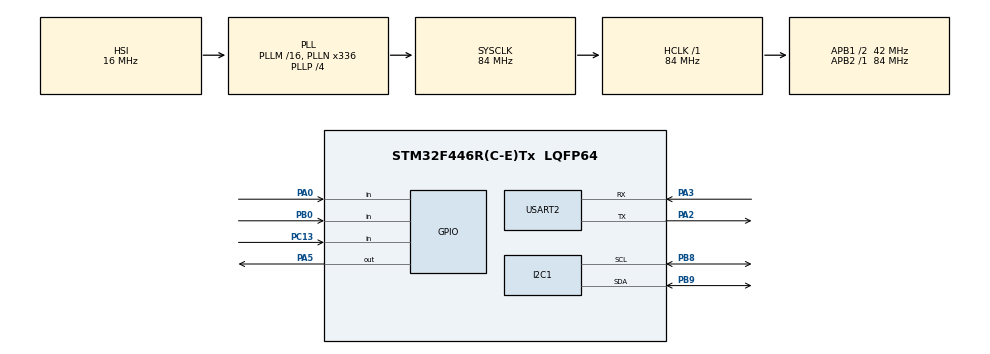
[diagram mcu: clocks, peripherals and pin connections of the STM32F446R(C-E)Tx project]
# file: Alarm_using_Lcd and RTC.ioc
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Mcu.Family=STM32F4
Mcu.Name=STM32F446R(C-E)Tx
Mcu.Package=LQFP64
NVIC.PriorityGroup=NVIC_PRIORITYGROUP_0
PA0-WKUP.GPIO_PuPd=GPIO_PULLUP
PA0-WKUP.Signal=GPIO_Input
PA2.Mode=Asynchronous
PA2.Signal=USART2_TX
PA3.Mode=Asynchronous
PA3.Signal=USART2_RX
PA5.Signal=GPIO_Output
PB0.GPIO_PuPd=GPIO_NOPULL
PB0.Signal=GPIO_Input
PB8.Mode=I2C
PB8.Signal=I2C1_SCL
PB9.Mode=I2C
PB9.Signal=I2C1_SDA
PC13.Signal=GPIO_Input
ProjectManager.HeapSize=0x200
ProjectManager.StackSize=0x400
ProjectManager.TargetToolchain=STM32CubeIDE
RCC.48MHZClocksFreq_Value=84000000
RCC.AHBFreq_Value=84000000
RCC.APB1CLKDivider=RCC_HCLK_DIV2
RCC.APB1Freq_Value=42000000
RCC.APB1TimFreq_Value=84000000
RCC.APB2Freq_Value=84000000
RCC.APB2TimFreq_Value=84000000
RCC.CortexFreq_Value=84000000
RCC.FLatency-AdvancedSettings=FLASH_LATENCY_2
RCC.HCLKFreq_Value=84000000
RCC.HSE_VALUE=8000000
RCC.HSI_VALUE=16000000
RCC.PLLN=336
RCC.PLLP=RCC_PLLP_DIV4
RCC.SYSCLKFreq_VALUE=84000000
RCC.SYSCLKSource=RCC_SYSCLKSOURCE_PLLCLK
RCC.USBFreq_Value=168000000
RCC.VCOOutputFreq_Value=336000000
RTC.Date=4
RTC.Format=RTC_FORMAT_BIN
RTC.Hours=1
RTC.Minutes=2
RTC.Month=RTC_MONTH_JUNE
RTC.WeekDay=RTC_WEEKDAY_THURSDAY
RTC.Year=26
USART2.VirtualMode=VM_ASYNC
VP_RTC_VS_RTC_Activate.Mode=RTC_Enabled
VP_RTC_VS_RTC_Calendar.Mode=RTC_Calendar
board=NUCLEO-F446RE

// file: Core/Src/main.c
/* USER CODE BEGIN Header */
/**
  ******************************************************************************
  * @file           : main.c
  * @brief          : Main program body
  ******************************************************************************
  * @attention
  *
  * Copyright (c) 2026 STMicroelectronics.
  * All rights reserved.
  *
  * This software is licensed under terms that can be found in the LICENSE file
  * in the root directory of this software component.
  * If no LICENSE file comes with this software, it is provided AS-IS.
  *
  ******************************************************************************
  */
/* USER CODE END Header */
#include "main.h"

/* USER CODE BEGIN Includes */
#include "liquidcrystal_i2c.h"
#include "stdio.h"
#include "string.h"
/* USER CODE END Includes */

I2C_HandleTypeDef hi2c1;

RTC_HandleTypeDef hrtc;

UART_HandleTypeDef huart2;

/* USER CODE BEGIN PV */
char msg[100];
char lcdmsg1[100];
char lcdmsg2[100];

uint8_t b1;
uint8_t b2;
int hours=0;
int minutes=0;
int c=0;
int c1=0;
/* USER CODE END PV */

void SystemClock_Config(void);
static void MX_GPIO_Init(void);
static void MX_I2C1_Init(void);
static void MX_RTC_Init(void);
static void MX_USART2_UART_Init(void);

int main(void)
{

  /* MCU Configuration--------------------------------------------------------*/

  /* Reset of all peripherals, Initializes the Flash interface and the Systick. */
  HAL_Init();

  /* Configure the system clock */
  SystemClock_Config();

  /* Initialize all configured peripherals */
  MX_GPIO_Init();
  MX_I2C1_Init();
  MX_RTC_Init();
  MX_USART2_UART_Init();
  /* USER CODE BEGIN 2 */
	RTC_TimeTypeDef sTime;
	RTC_DateTypeDef sDate;

    HD44780_Init(2);
	HD44780_Clear();
	HD44780_Backlight();
	HD44780_SetCursor(3, 0);
	HD44780_PrintStr("Welcome To");
	HD44780_SetCursor(0, 1);
	HD44780_PrintStr("Iot_Lab_Projects");

  /* USER CODE END 2 */

  /* Infinite loop */
  while (1)
  {

    /* USER CODE BEGIN 3 */
	  //HAL_Delay(1000);
	  if(c==0)
	  {
		  HAL_RTC_GetTime(&hrtc, &sTime, RTC_FORMAT_BIN);
			HAL_RTC_GetDate(&hrtc, &sDate, RTC_FORMAT_BIN);

			snprintf(lcdmsg1, sizeof(lcdmsg1), "Time: %02d:%02d:%02d ",
					sTime.Hours, sTime.Minutes, sTime.Seconds);
			snprintf(lcdmsg2, sizeof(lcdmsg2), "Date: %02d/%02d/%02d \r\n",
					sDate.Date, sDate.Month, sDate.Year + 2000);

			HD44780_SetCursor(0, 0);
			HD44780_PrintStr(lcdmsg1);
			HD44780_SetCursor(0, 1);
			HD44780_PrintStr(lcdmsg2);
			c1=0;
	  }
	  b1=HAL_GPIO_ReadPin(GPIOC, GPIO_PIN_13);
	  b2=HAL_GPIO_ReadPin(GPIOA, GPIO_PIN_0);
	  HAL_UART_Transmit(&huart2, (uint8_t*)b2, sizeof(b2), HAL_MAX_DELAY);

	  if(c1==1)
	  {
		  HAL_RTC_GetTime(&hrtc, &sTime, RTC_FORMAT_BIN);
		  	  HAL_RTC_GetDate(&hrtc, &sDate, RTC_FORMAT_BIN);

		  	  snprintf(lcdmsg1, sizeof(lcdmsg1), "Live : %02d:%02d:%02d ",
		  	  					sTime.Hours, sTime.Minutes, sTime.Seconds);
		  	  HD44780_SetCursor(0, 0);
		  	  HD44780_PrintStr(lcdmsg1);
		  	  c=1;
	  }

	  if(b1==0)
	  {
		  HD44780_Clear();

		  HAL_RTC_GetTime(&hrtc, &sTime, RTC_FORMAT_BIN);
			HAL_RTC_GetDate(&hrtc, &sDate, RTC_FORMAT_BIN);

			snprintf(lcdmsg1, sizeof(lcdmsg1), "Live : %02d:%02d:%02d ",
					sTime.Hours, sTime.Minutes, sTime.Seconds);
			HD44780_SetCursor(0, 0);
			HD44780_PrintStr(lcdmsg1);

		  HAL_GPIO_WritePin(GPIOA, GPIO_PIN_5,1);

		  //HD44780_SetCursor(0, 0);
		  //HD44780_PrintStr("Set Time");

		  hours=hours+1;
			if (hours >= 12)
			{
				hours = 0;
			}
			HD44780_SetCursor(0, 1);
		  snprintf(msg,sizeof(msg),"Alarm: %02d:%02d:%02d",hours,minutes,00);
		  HAL_UART_Transmit(&huart2, msg, sizeof(msg), HAL_MAX_DELAY);
		  HD44780_PrintStr(msg);
		  c=1;
		  c1=1;
		  HAL_Delay(200);

	  }
	  else if(b2==0)
	  {

		  HD44780_Clear();

			HAL_RTC_GetTime(&hrtc, &sTime, RTC_FORMAT_BIN);
			HAL_RTC_GetDate(&hrtc, &sDate, RTC_FORMAT_BIN);

			snprintf(lcdmsg1, sizeof(lcdmsg1), "Live : %02d:%02d:%02d ",
					sTime.Hours, sTime.Minutes, sTime.Seconds);
			HD44780_SetCursor(0, 0);
			HD44780_PrintStr(lcdmsg1);

		  HAL_GPIO_WritePin(GPIOA, GPIO_PIN_5,1);

			minutes = minutes + 1;
			if (minutes >= 60)
			{
				minutes = 0;
			}
			HD44780_SetCursor(0, 1);
			snprintf(msg, sizeof(msg), "Alarm: %02d:%02d:%02d", hours, minutes,00);
			HAL_UART_Transmit(&huart2, b2, sizeof(b2), HAL_MAX_DELAY);
			//HAL_UART_Transmit(&huart2, msg, sizeof(msg), HAL_MAX_DELAY);
			HD44780_PrintStr(msg);
			c=1;
			c1=1;
			HAL_Delay(200);

	  }
	  else if(HAL_GPIO_ReadPin(GPIOB, GPIO_PIN_0)==1)
	  {
		  while(1){
			  HAL_RTC_GetTime(&hrtc, &sTime, RTC_FORMAT_BIN);
				HAL_RTC_GetDate(&hrtc, &sDate, RTC_FORMAT_BIN);

				snprintf(lcdmsg1, sizeof(lcdmsg1), "Live : %02d:%02d:%02d ",
						sTime.Hours, sTime.Minutes, sTime.Seconds);
				HD44780_SetCursor(0, 0);
				HD44780_PrintStr(lcdmsg1);
				if (sTime.Hours == hours && sTime.Minutes == minutes
						&& sTime.Seconds == 00) {

					HAL_GPIO_WritePin(GPIOA, GPIO_PIN_5, 1);
				}
		  }

	  }

	  else
	  {
		  HAL_GPIO_WritePin(GPIOA, GPIO_PIN_5,0);
		  //c=1;

	  }

		/*HAL_RTC_GetTime(&hrtc, &sTime, RTC_FORMAT_BIN);
		HAL_RTC_GetDate(&hrtc, &sDate, RTC_FORMAT_BIN);

		snprintf(lcdmsg1, sizeof(lcdmsg1),
				"Time: %02d:%02d:%02d ",
				sTime.Hours, sTime.Minutes, sTime.Seconds);
		snprintf(lcdmsg2, sizeof(lcdmsg2),
				"Date: %02d/%02d/%02d \r\n",
				sDate.Date,sDate.Month, sDate.Year+2000);

		HD44780_SetCursor(0, 0);
		HD44780_PrintStr(lcdmsg1);
		HD44780_SetCursor(0, 1);
		HD44780_PrintStr(lcdmsg2);*/

		//b1=HAL_GPIO_ReadPin(GPIOC, GPIO_PIN_13);
		//b2=HAL_GPIO_ReadPin(GPIOC, GPIO_PIN_14);

  }
  /* USER CODE END 3 */
}

void SystemClock_Config(void)
{
  RCC_OscInitTypeDef RCC_OscInitStruct = {0};
  RCC_ClkInitTypeDef RCC_ClkInitStruct = {0};

  /** Configure the main internal regulator output voltage
  */
  __HAL_RCC_PWR_CLK_ENABLE();
  __HAL_PWR_VOLTAGESCALING_CONFIG(PWR_REGULATOR_VOLTAGE_SCALE3);

  /** Initializes the RCC Oscillators according to the specified parameters
  * in the RCC_OscInitTypeDef structure.
  */
  RCC_OscInitStruct.OscillatorType = RCC_OSCILLATORTYPE_HSI|RCC_OSCILLATORTYPE_LSI;
  RCC_OscInitStruct.LSEState = RCC_LSE_OFF;
  RCC_OscInitStruct.HSIState = RCC_HSI_ON;
  RCC_OscInitStruct.HSICalibrationValue = RCC_HSICALIBRATION_DEFAULT;
  RCC_OscInitStruct.LSIState = RCC_LSI_ON;
  RCC_OscInitStruct.PLL.PLLState = RCC_PLL_ON;
  RCC_OscInitStruct.PLL.PLLSource = RCC_PLLSOURCE_HSI;
  RCC_OscInitStruct.PLL.PLLM = 16;
  RCC_OscInitStruct.PLL.PLLN = 336;
  RCC_OscInitStruct.PLL.PLLP = RCC_PLLP_DIV4;
  RCC_OscInitStruct.PLL.PLLQ = 2;
  RCC_OscInitStruct.PLL.PLLR = 2;
  if (HAL_RCC_OscConfig(&RCC_OscInitStruct) != HAL_OK)
  {
    Error_Handler();
  }

  /** Initializes the CPU, AHB and APB buses clocks
  */
  RCC_ClkInitStruct.ClockType = RCC_CLOCKTYPE_HCLK|RCC_CLOCKTYPE_SYSCLK
                              |RCC_CLOCKTYPE_PCLK1|RCC_CLOCKTYPE_PCLK2;
  RCC_ClkInitStruct.SYSCLKSource = RCC_SYSCLKSOURCE_PLLCLK;
  RCC_ClkInitStruct.AHBCLKDivider = RCC_SYSCLK_DIV1;
  RCC_ClkInitStruct.APB1CLKDivider = RCC_HCLK_DIV2;
  RCC_ClkInitStruct.APB2CLKDivider = RCC_HCLK_DIV1;

  if (HAL_RCC_ClockConfig(&RCC_ClkInitStruct, FLASH_LATENCY_2) != HAL_OK)
  {
    Error_Handler();
  }
}

static void MX_I2C1_Init(void)
{

  hi2c1.Instance = I2C1;
  hi2c1.Init.ClockSpeed = 100000;
  hi2c1.Init.DutyCycle = I2C_DUTYCYCLE_2;
  hi2c1.Init.OwnAddress1 = 0;
  hi2c1.Init.AddressingMode = I2C_ADDRESSINGMODE_7BIT;
  hi2c1.Init.DualAddressMode = I2C_DUALADDRESS_DISABLE;
  hi2c1.Init.OwnAddress2 = 0;
  hi2c1.Init.GeneralCallMode = I2C_GENERALCALL_DISABLE;
  hi2c1.Init.NoStretchMode = I2C_NOSTRETCH_DISABLE;
  if (HAL_I2C_Init(&hi2c1) != HAL_OK)
  {
    Error_Handler();
  }

}

static void MX_RTC_Init(void)
{

  RTC_TimeTypeDef sTime = {0};
  RTC_DateTypeDef sDate = {0};

  /** Initialize RTC Only
  */
  hrtc.Instance = RTC;
  hrtc.Init.HourFormat = RTC_HOURFORMAT_24;
  hrtc.Init.AsynchPrediv = 127;
  hrtc.Init.SynchPrediv = 255;
  hrtc.Init.OutPut = RTC_OUTPUT_DISABLE;
  hrtc.Init.OutPutPolarity = RTC_OUTPUT_POLARITY_HIGH;
  hrtc.Init.OutPutType = RTC_OUTPUT_TYPE_OPENDRAIN;
  if (HAL_RTC_Init(&hrtc) != HAL_OK)
  {
    Error_Handler();
  }

  /** Initialize RTC and set the Time and Date
  */
  sTime.Hours = 1;
  sTime.Minutes = 2;
  sTime.Seconds = 0;
  sTime.DayLightSaving = RTC_DAYLIGHTSAVING_NONE;
  sTime.StoreOperation = RTC_STOREOPERATION_RESET;
  if (HAL_RTC_SetTime(&hrtc, &sTime, RTC_FORMAT_BIN) != HAL_OK)
  {
    Error_Handler();
  }
  sDate.WeekDay = RTC_WEEKDAY_THURSDAY;
  sDate.Month = RTC_MONTH_JUNE;
  sDate.Date = 4;
  sDate.Year = 26;

  if (HAL_RTC_SetDate(&hrtc, &sDate, RTC_FORMAT_BIN) != HAL_OK)
  {
    Error_Handler();
  }

}

static void MX_USART2_UART_Init(void)
{

  huart2.Instance = USART2;
  huart2.Init.BaudRate = 115200;
  huart2.Init.WordLength = UART_WORDLENGTH_8B;
  huart2.Init.StopBits = UART_STOPBITS_1;
  huart2.Init.Parity = UART_PARITY_NONE;
  huart2.Init.Mode = UART_MODE_TX_RX;
  huart2.Init.HwFlowCtl = UART_HWCONTROL_NONE;
  huart2.Init.OverSampling = UART_OVERSAMPLING_16;
  if (HAL_UART_Init(&huart2) != HAL_OK)
  {
    Error_Handler();
  }

}

static void MX_GPIO_Init(void)
{
  GPIO_InitTypeDef GPIO_InitStruct = {0};

  /* GPIO Ports Clock Enable */
  __HAL_RCC_GPIOC_CLK_ENABLE();
  __HAL_RCC_GPIOA_CLK_ENABLE();
  __HAL_RCC_GPIOB_CLK_ENABLE();

  /*Configure GPIO pin Output Level */
  HAL_GPIO_WritePin(GPIOA, GPIO_PIN_5, GPIO_PIN_RESET);

  /*Configure GPIO pin : PC13 */
  GPIO_InitStruct.Pin = GPIO_PIN_13;
  GPIO_InitStruct.Mode = GPIO_MODE_INPUT;
  GPIO_InitStruct.Pull = GPIO_NOPULL;
  HAL_GPIO_Init(GPIOC, &GPIO_InitStruct);

  /*Configure GPIO pin : PA0 */
  GPIO_InitStruct.Pin = GPIO_PIN_0;
  GPIO_InitStruct.Mode = GPIO_MODE_INPUT;
  GPIO_InitStruct.Pull = GPIO_PULLUP;
  HAL_GPIO_Init(GPIOA, &GPIO_InitStruct);

  /*Configure GPIO pin : PA5 */
  GPIO_InitStruct.Pin = GPIO_PIN_5;
  GPIO_InitStruct.Mode = GPIO_MODE_OUTPUT_PP;
  GPIO_InitStruct.Pull = GPIO_NOPULL;
  GPIO_InitStruct.Speed = GPIO_SPEED_FREQ_LOW;
  HAL_GPIO_Init(GPIOA, &GPIO_InitStruct);

  /*Configure GPIO pin : PB0 */
  GPIO_InitStruct.Pin = GPIO_PIN_0;
  GPIO_InitStruct.Mode = GPIO_MODE_INPUT;
  GPIO_InitStruct.Pull = GPIO_NOPULL;
  HAL_GPIO_Init(GPIOB, &GPIO_InitStruct);

}

void Error_Handler(void)
{
  __disable_irq();
  while (1)
  {
  }
}
